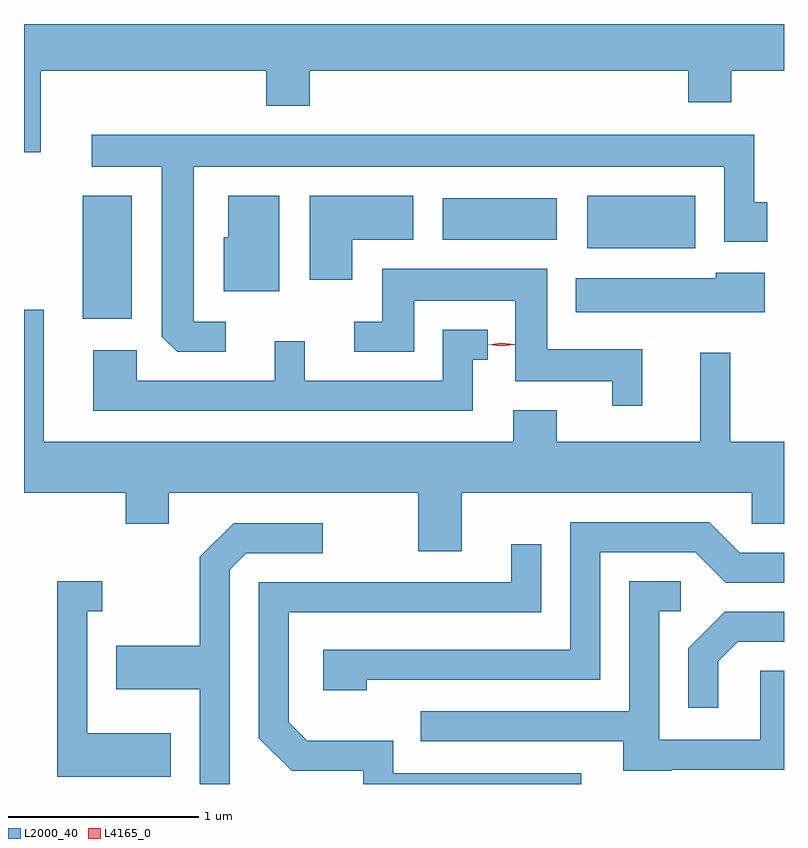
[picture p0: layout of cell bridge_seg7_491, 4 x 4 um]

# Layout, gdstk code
import gdstk
lib = gdstk.Library(unit=1e-6, precision=1e-09)
def R(c, l, rs):  # rectangles x0, y0, x1, y1
    for r in rs: c.add(gdstk.rectangle(r[:2], r[2:], *l))
def P(c, l, *ps):  # polygons
    for p in ps: c.add(gdstk.Polygon(p, *l))
L2000_40 = (2000, 40)
L4165_0 = (4165, 0)

bridge_seg7_491 = lib.new_cell('bridge_seg7_491')
R(bridge_seg7_491, L2000_40, [(1335.626,1719.671,1335.884,1720.319), (1338.281,1720.041,1338.849,1720.319), (1337.521,1720.086,1338.119,1720.304)])
P(bridge_seg7_491, L2000_40, [(1335.404,1720.976),(1336.591,1720.976),(1336.591,1720.791),(1336.819,1720.791),(1336.819,1720.976),(1338.811,1720.976),(1338.811,1720.811),(1339.039,1720.811),(1339.039,1720.976),(1339.316,1720.976),(1339.316,1721.222),(1335.316,1721.222),(1335.316,1720.548),(1335.404,1720.548)],
  [(1336.378,1719.654),(1336.209,1719.654),(1336.209,1720.471),(1339.001,1720.471),(1339.001,1720.076),(1339.229,1720.076),(1339.229,1720.284),(1339.159,1720.284),(1339.159,1720.639),(1335.673,1720.639),(1335.673,1720.471),(1336.041,1720.471),(1336.041,1719.577),(1336.122,1719.496),(1336.378,1719.496)],
  [(1337.044,1720.086),(1337.364,1720.086),(1337.364,1720.319),(1336.821,1720.319),(1336.821,1719.876),(1337.044,1719.876)],
  [(1336.659,1720.319),(1336.391,1720.319),(1336.391,1720.099),(1336.366,1720.099),(1336.366,1719.816),(1336.659,1719.816)],
  [(1338.569,1719.509),(1338.069,1719.509),(1338.069,1719.934),(1337.201,1719.934),(1337.201,1719.654),(1337.053,1719.654),(1337.053,1719.496),(1337.369,1719.496),(1337.369,1719.766),(1337.901,1719.766),(1337.901,1719.341),(1338.411,1719.341),(1338.411,1719.213),(1338.569,1719.213)],
  [(1339.214,1719.914),(1338.956,1719.914),(1338.956,1719.884),(1338.221,1719.884),(1338.221,1719.706),(1339.214,1719.706)],
  [(1337.619,1718.756),(1339.146,1718.756),(1339.146,1718.591),(1339.316,1718.591),(1339.316,1719.024),(1339.034,1719.024),(1339.034,1719.493),(1338.876,1719.493),(1338.876,1719.024),(1338.119,1719.024),(1338.119,1719.189),(1337.891,1719.189),(1337.891,1719.024),(1335.419,1719.024),(1335.419,1719.719),(1335.316,1719.719),(1335.316,1718.756),(1335.851,1718.756),(1335.851,1718.591),(1336.079,1718.591),(1336.079,1718.756),(1337.391,1718.756),(1337.391,1718.446),(1337.619,1718.446)],
  [(1337.679,1719.456),(1337.758,1719.456),(1337.758,1719.614),(1337.521,1719.614),(1337.521,1719.344),(1336.794,1719.344),(1336.794,1719.553),(1336.636,1719.553),(1336.636,1719.344),(1335.909,1719.344),(1335.909,1719.504),(1335.681,1719.504),(1335.681,1719.186),(1337.679,1719.186)],
  [(1337.119,1717.771),(1338.349,1717.771),(1338.349,1718.441),(1338.849,1718.441),(1339.009,1718.281),(1339.316,1718.281),(1339.316,1718.439),(1339.082,1718.439),(1338.922,1718.599),(1338.191,1718.599),(1338.191,1717.929),(1336.891,1717.929),(1336.891,1717.716),(1337.119,1717.716)],
  [(1336.399,1718.349),(1336.487,1718.436),(1336.888,1718.436),(1336.888,1718.594),(1336.419,1718.594),(1336.241,1718.417),(1336.241,1717.949),(1335.801,1717.949),(1335.801,1717.721),(1336.241,1717.721),(1336.241,1717.222),(1336.399,1717.222)],
  [(1338.249,1717.279),(1337.259,1717.279),(1337.259,1717.449),(1336.807,1717.449),(1336.709,1717.547),(1336.709,1718.126),(1338.039,1718.126),(1338.039,1718.483),(1337.881,1718.483),(1337.881,1718.284),(1336.551,1718.284),(1336.551,1717.464),(1336.724,1717.291),(1337.101,1717.291),(1337.101,1717.222),(1338.249,1717.222)],
  [(1336.089,1717.489),(1335.649,1717.489),(1335.649,1718.131),(1335.728,1718.131),(1335.728,1718.289),(1335.491,1718.289),(1335.491,1717.261),(1336.089,1717.261)],
  [(1338.725,1717.296),(1339.316,1717.296),(1339.316,1717.819),(1339.191,1717.819),(1339.191,1717.454),(1338.659,1717.454),(1338.659,1718.131),(1338.773,1718.131),(1338.773,1718.289),(1338.501,1718.289),(1338.501,1717.604),(1337.403,1717.604),(1337.403,1717.446),(1338.471,1717.446),(1338.471,1717.291),(1338.725,1717.291)],
  [(1338.969,1717.869),(1339.072,1717.971),(1339.316,1717.971),(1339.316,1718.129),(1339.004,1718.129),(1338.811,1717.937),(1338.811,1717.623),(1338.969,1717.623)])
P(bridge_seg7_491, L4165_0, [(1337.828,1719.525),(1337.759,1719.534),(1337.759,1719.535),(1337.759,1719.535),(1337.828,1719.545),(1337.898,1719.536),(1337.898,1719.536),(1337.898,1719.535)])

lib.write_gds('bridge_seg7_491.gds')
